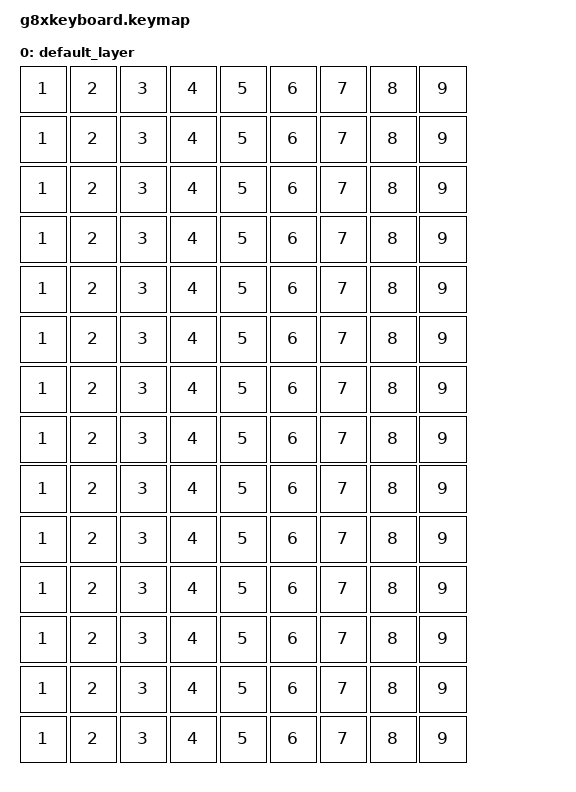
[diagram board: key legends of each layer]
#include <behaviors.dtsi>
#include <dt-bindings/zmk/keys.h>

/ {
    keymap {
        compatible = "zmk,keymap";

        default_layer {

            bindings = <
                &kp 1	&kp 2	&kp 3	&kp 4	&kp 5	&kp 6	&kp 7	&kp 8	&kp 9
                &kp 1	&kp 2	&kp 3	&kp 4	&kp 5	&kp 6	&kp 7	&kp 8	&kp 9
                &kp 1	&kp 2	&kp 3	&kp 4	&kp 5	&kp 6	&kp 7	&kp 8	&kp 9
                &kp 1	&kp 2	&kp 3	&kp 4	&kp 5	&kp 6	&kp 7	&kp 8	&kp 9
                &kp 1	&kp 2	&kp 3	&kp 4	&kp 5	&kp 6	&kp 7	&kp 8	&kp 9
                &kp 1	&kp 2	&kp 3	&kp 4	&kp 5	&kp 6	&kp 7	&kp 8	&kp 9
                &kp 1	&kp 2	&kp 3	&kp 4	&kp 5	&kp 6	&kp 7	&kp 8	&kp 9
                &kp 1	&kp 2	&kp 3	&kp 4	&kp 5	&kp 6	&kp 7	&kp 8	&kp 9
                &kp 1	&kp 2	&kp 3	&kp 4	&kp 5	&kp 6	&kp 7	&kp 8	&kp 9
                &kp 1	&kp 2	&kp 3	&kp 4	&kp 5	&kp 6	&kp 7	&kp 8	&kp 9
                &kp 1	&kp 2	&kp 3	&kp 4	&kp 5	&kp 6	&kp 7	&kp 8	&kp 9
                &kp 1	&kp 2	&kp 3	&kp 4	&kp 5	&kp 6	&kp 7	&kp 8	&kp 9
                &kp 1	&kp 2	&kp 3	&kp 4	&kp 5	&kp 6	&kp 7	&kp 8	&kp 9
                &kp 1	&kp 2	&kp 3	&kp 4	&kp 5	&kp 6	&kp 7	&kp 8	&kp 9

            >;

        };
    };
};
